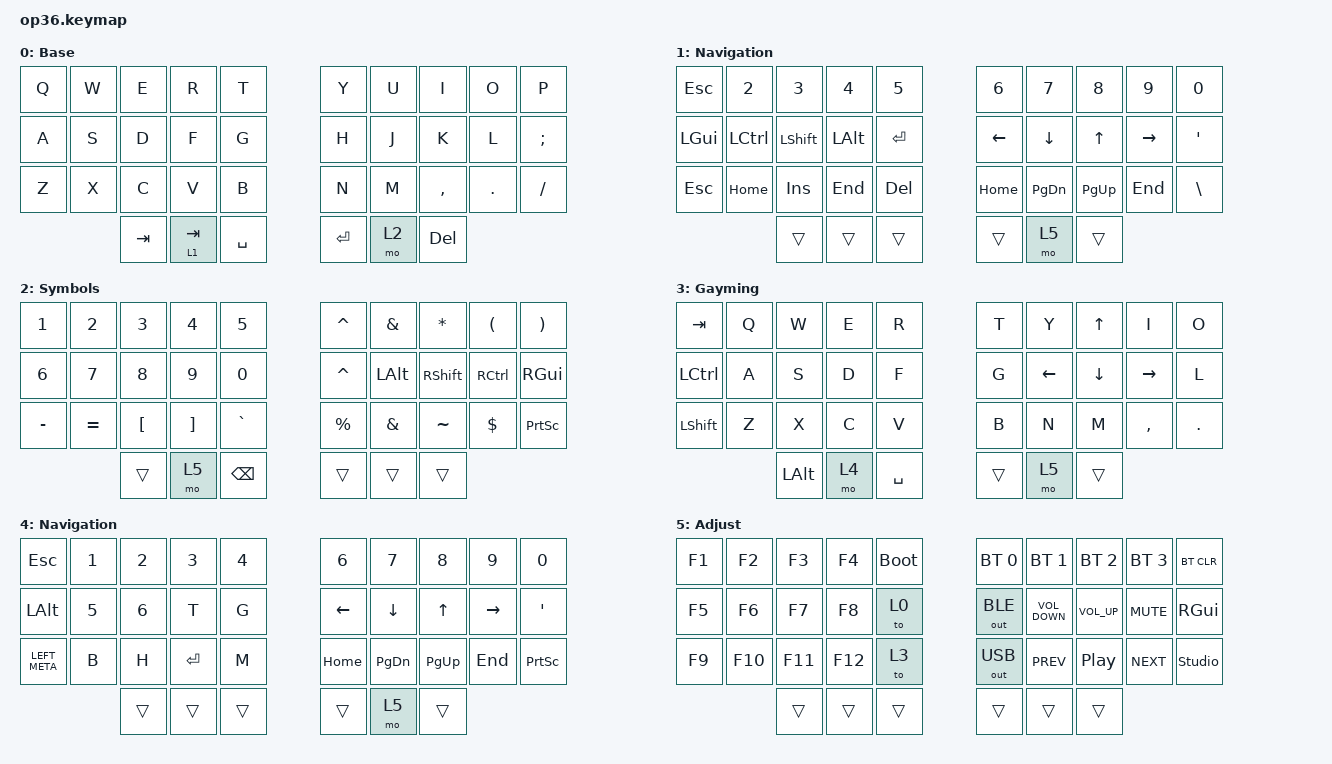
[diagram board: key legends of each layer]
#include "keys_ru.h"
#include <behaviors.dtsi>
#include <dt-bindings/zmk/bt.h>
#include <dt-bindings/zmk/keys.h>
#include <dt-bindings/zmk/outputs.h>

&mt {
    quick-tap-ms = <200>;
    flavor = "tap-preferred";
    require-prior-idle-ms = <125>;
};

/ {
    behaviors {
        hml: home_row_mod_left {
            compatible = "zmk,behavior-hold-tap";
            #binding-cells = <2>;
            flavor = "balanced";
            require-prior-idle-ms = <150>;
            tapping-term-ms = <280>;
            quick-tap-ms = <175>;
            bindings = <&kp>, <&kp>;

            hold-trigger-key-positions = <5 6 7 8 9 15 16 17 18 19 25 26 27 28 29 33 34 35>;
            hold-trigger-on-release;
        };

        hmr: home_row_mod_right {
            compatible = "zmk,behavior-hold-tap";
            #binding-cells = <2>;
            flavor = "balanced";
            require-prior-idle-ms = <150>;
            tapping-term-ms = <280>;
            quick-tap-ms = <175>;
            bindings = <&kp>, <&kp>;

            hold-trigger-key-positions = <0 1 2 3 4 10 11 12 13 14 20 21 22 23 24 30 31 32>;
            hold-trigger-on-release;
        };
    };

    combos {
        compatible = "zmk,combos";

        kha {
            bindings = <&kp LBKT>;
            key-positions = <6 7>;
        };

        hrdsgn {
            bindings = <&kp RBKT>;
            key-positions = <7 8>;
        };
    };

    keymap {
        compatible = "zmk,keymap";

        base {
            bindings = <
  &kp Q  &kp W  &kp E  &kp R    &kp T                              &kp Y  &kp U       &kp I      &kp O    &kp P
  &kp A  &kp S  &kp D  &kp F    &kp G                              &kp H  &kp J       &kp K      &kp L    &kp SEMI
  &kp Z  &kp X  &kp C  &kp V    &kp B                              &kp N  &kp M       &kp COMMA  &kp DOT  &kp SLASH
                       &kp TAB  &lt 1 TAB  &kp SPACE    &kp ENTER  &mo 2  &kp DELETE
            >;

            display-name = "Base";
        };

        nav {
            bindings = <
  &kp ESC   &kp N2            &kp N3     &kp N4        &kp N5                        &kp N6          &kp N7          &kp N8        &kp N9           &kp N0
  &kp LGUI  &kp LEFT_CONTROL  &kp LSHFT  &kp LEFT_ALT  &kp ENTER                     &kp LEFT_ARROW  &kp DOWN_ARROW  &kp UP_ARROW  &kp RIGHT_ARROW  &kp APOS
  &kp ESC   &kp HOME          &kp INS    &kp END       &kp DELETE                    &kp HOME        &kp PAGE_DOWN   &kp PAGE_UP   &kp END          &kp BACKSLASH
                                         &trans        &trans      &trans    &trans  &mo 5           &trans
            >;

            display-name = "Navigation";
        };

        sym {
            bindings = <
  &kp NUMBER_1  &kp NUMBER_2  &kp NUMBER_3  &kp NUMBER_4  &kp NUMBER_5                           &kp CARET    &kp AMPERSAND  &kp STAR   &kp LEFT_PARENTHESIS  &kp RIGHT_PARENTHESIS
  &kp NUMBER_6  &kp NUMBER_7  &kp NUMBER_8  &kp NUMBER_9  &kp NUMBER_0                           &kp CARET    &kp LEFT_ALT   &kp RSHFT  &kp RIGHT_CONTROL     &kp RGUI
  &kp MINUS     &kp EQUAL     &kp LBKT      &kp RBKT      &kp GRAVE                              &kp PERCENT  &kp AMPERSAND  &kp TILDE  &kp DOLLAR            &kp PRINTSCREEN
                                            &trans        &mo 5         &kp BACKSPACE    &trans  &trans       &trans
            >;

            display-name = "Symbols";
        };

        gay {
            bindings = <
  &kp TAB         &kp Q  &kp W  &kp E         &kp R                       &kp T  &kp Y     &kp UP_ARROW    &kp I            &kp O
  &kp LCTRL       &kp A  &kp S  &kp D         &kp F                       &kp G  &kp LEFT  &kp DOWN_ARROW  &kp RIGHT_ARROW  &kp L
  &kp LEFT_SHIFT  &kp Z  &kp X  &kp C         &kp V                       &kp B  &kp N     &kp M           &kp COMMA        &kp DOT
                                &kp LEFT_ALT  &mo 4  &kp SPACE    &trans  &mo 5  &trans
            >;

            label = "Gayming";
        };

        gay_num {
            display-name = "Navigation";
            bindings = <
  &kp ESC        &kp NUMBER_1  &kp NUMBER_2  &kp NUMBER_3  &kp NUMBER_4                    &kp N6          &kp N7          &kp N8        &kp N9           &kp N0
  &kp LEFT_ALT   &kp NUMBER_5  &kp NUMBER_6  &kp T         &kp G                           &kp LEFT_ARROW  &kp DOWN_ARROW  &kp UP_ARROW  &kp RIGHT_ARROW  &kp APOS
  &kp LEFT_META  &kp B         &kp H         &kp ENTER     &kp M                           &kp HOME        &kp PAGE_DOWN   &kp PAGE_UP   &kp END          &kp PRINTSCREEN
                                             &trans        &trans        &trans    &trans  &mo 5           &trans
            >;

            label = "GaymingNumbers";
        };

        adj {
            bindings = <
  &kp F1  &kp F2   &kp F3   &kp F4   &bootloader                    &bt BT_SEL 0  &bt BT_SEL 1       &bt BT_SEL 2     &bt BT_SEL 3  &bt BT_CLR
  &kp F5  &kp F6   &kp F7   &kp F8   &to 0                          &out OUT_BLE  &kp C_VOLUME_DOWN  &kp C_VOLUME_UP  &kp C_MUTE    &kp RGUI
  &kp F9  &kp F10  &kp F11  &kp F12  &to 3                          &out OUT_USB  &kp C_PREV         &kp C_PP         &kp C_NEXT    &studio_unlock
                            &trans   &trans       &trans    &trans  &trans        &trans
            >;

            display-name = "Adjust";
        };
    };
};
